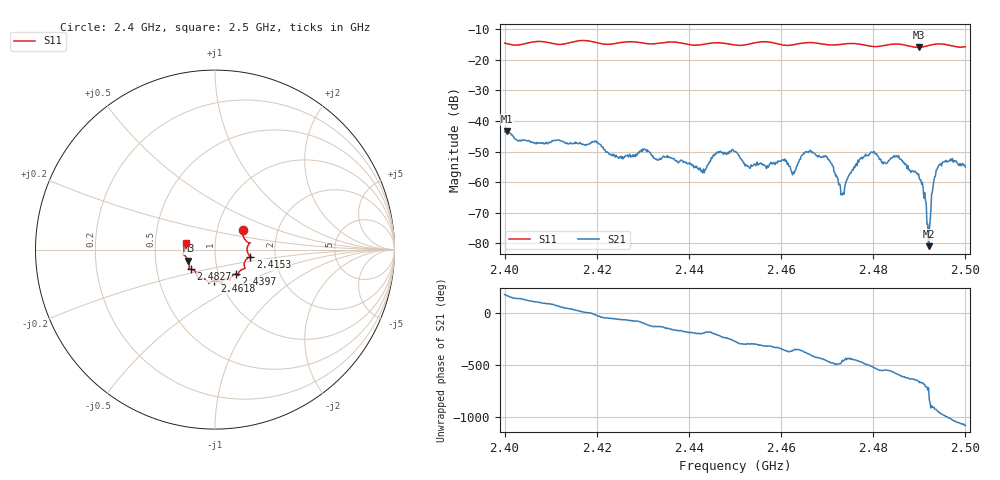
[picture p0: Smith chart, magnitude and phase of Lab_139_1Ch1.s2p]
# Hz S RI R 50
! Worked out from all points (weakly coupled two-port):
!   601 points, 2.4 GHz to 2.5 GHz, reference 50 ohm
!   highest |S21| = -43.38 dB at 2.4005 GHz (marker M1); lowest = -80.9 dB at 2.492 GHz (marker M2)
!   lowest |S11| = -15.9 dB at 2.4898 GHz (marker M3), VSWR 1.38, Z = 36.9 - j4.63 ohm
!   |S11| at or under -10 dB: start of sweep to end of sweep
!   S12 and S22 are empty: the file has one direction only
!   S11 on the Smith chart (normalised r, x): 2.4 GHz: 1.33, +0.29; 2.4153 GHz: 1.48, -0.12; 2.4397 GHz: 1.21, -0.34; 2.4618 GHz: 0.94, -0.33; 2.4827 GHz: 0.75, -0.17; 2.5 GHz: 0.72, +0.06
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2.4e9  0.155 0.107  -0.00671 9.34e-05  0 0  0 0
2.4005e9  0.1548 0.0995  -0.00667 0.00121  0 0  0 0
2.415333e9  0.1968 -0.0398  0.00388 0.00229  0 0  0 0
2.416667e9  0.2023 -0.0436  0.00406 0.000991  0 0  0 0
2.433333e9  0.1298 -0.1339  -0.00145 -0.00178  0 0  0 0
2.439667e9  0.1168 -0.1359  -0.002 3.89e-05  0 0  0 0
2.443167e9  0.0877 -0.1562  -0.0016 0.000336  0 0  0 0
2.445833e9  0.0843 -0.1703  -0.00264 0.00111  0 0  0 0
2.45e9  0.0654 -0.1621  0.000136 0.00317  0 0  0 0
2.452833e9  0.0394 -0.1747  0.00074 0.00165  0 0  0 0
2.461833e9  -0.00352 -0.173  0.00181 -0.000271  0 0  0 0
2.466667e9  -0.0349 -0.1879  0.00194 -0.00234  0 0  0 0
2.470167e9  -0.0494 -0.1692  -0.000512 -0.0023  0 0  0 0
2.473333e9  -0.0836 -0.1598  -3.44e-05 -0.000618  0 0  0 0
2.477833e9  -0.0984 -0.1462  -0.00124 -0.00226  0 0  0 0
2.482667e9  -0.1348 -0.1087  -0.00201 0.000304  0 0  0 0
2.483333e9  -0.1399 -0.1083  -0.00219 0.000503  0 0  0 0
2.489833e9  -0.1481 -0.0612  0.000595 0.00123  0 0  0 0
2.492e9  -0.1677 -0.0341  8.97e-05 4.14e-06  0 0  0 0
2.493167e9  -0.177 -0.0257  -0.00106 0.000112  0 0  0 0
2.494167e9  -0.1806 -0.0218  -0.00113 0.00143  0 0  0 0
2.5e9  -0.1594 0.0385  0.00177 -5.81e-05  0 0  0 0
